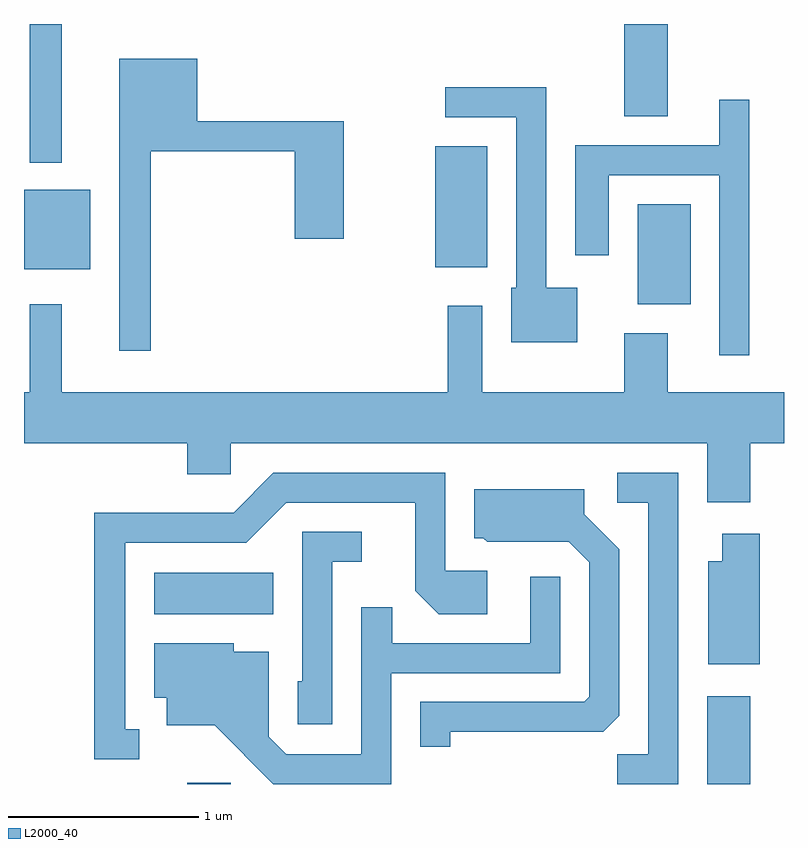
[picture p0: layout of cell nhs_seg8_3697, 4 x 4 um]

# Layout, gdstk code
import gdstk
lib = gdstk.Library(unit=1e-6, precision=1e-09)
def R(c, l, rs):  # rectangles x0, y0, x1, y1
    for r in rs: c.add(gdstk.rectangle(r[:2], r[2:], *l))
def P(c, l, *ps):  # polygons
    for p in ps: c.add(gdstk.Polygon(p, *l))
L2000_40 = (2000, 40)

nhs_seg8_3697 = lib.new_cell('nhs_seg8_3697')
R(nhs_seg8_3697, L2000_40, [(296.471,1892.342,296.699,1892.349), (299.206,1892.342,299.434,1892.804), (296.296,1893.236,296.924,1893.454), (298.841,1894.866,299.119,1895.394), (295.611,1895.051,295.959,1895.469), (297.776,1895.061,298.049,1895.699), (295.641,1895.613,295.809,1896.342), (298.771,1895.856,298.999,1896.342)])
P(nhs_seg8_3697, L2000_40, [(296.279,1895.671),(297.036,1895.671),(297.036,1895.211),(297.294,1895.211),(297.294,1895.829),(296.524,1895.829),(296.524,1896.159),(296.111,1896.159),(296.111,1894.623),(296.279,1894.623)],
  [(298.524,1894.954),(298.359,1894.954),(298.359,1896.009),(297.828,1896.009),(297.828,1895.851),(298.201,1895.851),(298.201,1894.954),(298.176,1894.954),(298.176,1894.666),(298.524,1894.666)],
  [(299.429,1895.943),(299.271,1895.943),(299.271,1895.704),(298.511,1895.704),(298.511,1895.126),(298.689,1895.126),(298.689,1895.546),(299.271,1895.546),(299.271,1894.598),(299.429,1894.598)],
  [(299.434,1894.136),(299.611,1894.136),(299.611,1894.404),(298.999,1894.404),(298.999,1894.714),(298.771,1894.714),(298.771,1894.404),(298.024,1894.404),(298.024,1894.859),(297.841,1894.859),(297.841,1894.404),(295.809,1894.404),(295.809,1894.868),(295.641,1894.868),(295.641,1894.404),(295.611,1894.404),(295.611,1894.136),(296.471,1894.136),(296.471,1893.971),(296.699,1893.971),(296.699,1894.136),(299.206,1894.136),(299.206,1893.826),(299.434,1893.826)],
  [(299.054,1893.979),(298.733,1893.979),(298.733,1893.821),(298.896,1893.821),(298.896,1892.499),(298.733,1892.499),(298.733,1892.342),(299.054,1892.342)],
  [(296.218,1892.629),(296.144,1892.629),(296.144,1893.611),(296.782,1893.611),(296.992,1893.821),(297.671,1893.821),(297.671,1893.359),(297.794,1893.236),(298.049,1893.236),(298.049,1893.464),(297.829,1893.464),(297.829,1893.979),(296.924,1893.979),(296.714,1893.769),(295.981,1893.769),(295.981,1892.471),(296.218,1892.471)],
  [(297.854,1892.616),(298.659,1892.616),(298.744,1892.702),(298.744,1893.577),(298.559,1893.762),(298.559,1893.894),(297.981,1893.894),(297.981,1893.636),(298.029,1893.636),(298.049,1893.616),(298.479,1893.616),(298.586,1893.509),(298.586,1892.802),(298.559,1892.774),(297.696,1892.774),(297.696,1892.538),(297.854,1892.538)],
  [(297.234,1893.511),(297.388,1893.511),(297.388,1893.669),(297.076,1893.669),(297.076,1892.884),(297.051,1892.884),(297.051,1892.656),(297.234,1892.656)],
  [(299.484,1893.659),(299.286,1893.659),(299.286,1893.514),(299.211,1893.514),(299.211,1892.971),(299.484,1892.971)],
  [(297.544,1892.926),(298.434,1892.926),(298.434,1893.433),(298.276,1893.433),(298.276,1893.084),(297.549,1893.084),(297.549,1893.273),(297.386,1893.273),(297.386,1892.499),(296.992,1892.499),(296.899,1892.592),(296.899,1893.039),(296.714,1893.039),(296.714,1893.084),(296.296,1893.084),(296.296,1892.796),(296.361,1892.796),(296.361,1892.651),(296.614,1892.651),(296.923,1892.342),(297.544,1892.342)])

lib.write_gds('nhs_seg8_3697.gds')
